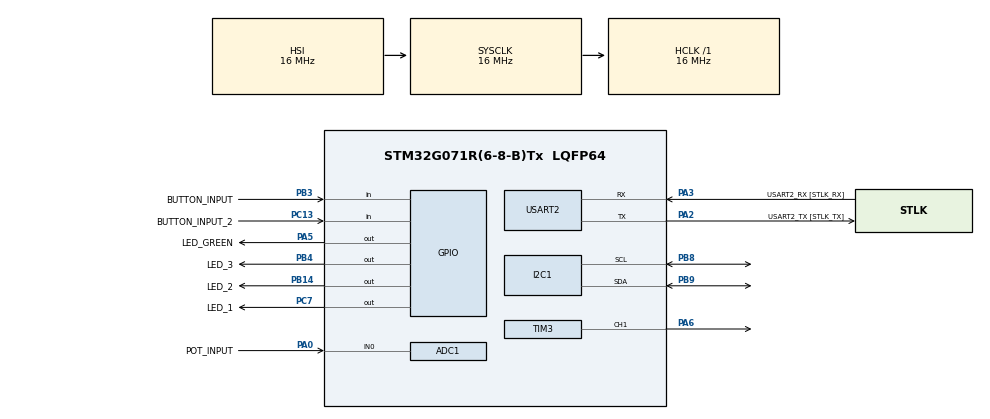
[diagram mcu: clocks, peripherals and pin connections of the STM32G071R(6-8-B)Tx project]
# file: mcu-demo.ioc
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ADC1.Channel-0\#ChannelRegularConversion=ADC_CHANNEL_0
ADC1.ContinuousConvMode=ENABLE
ADC1.NbrOfConversionFlag=1
ADC1.Rank-0\#ChannelRegularConversion=1
ADC1.SamplingTime-0\#ChannelRegularConversion=ADC_SAMPLINGTIME_COMMON_1
ADC1.SelectedChannel=ADC_CHANNEL_0
ADC1.master=1
Mcu.Family=STM32G0
Mcu.Name=STM32G071R(6-8-B)Tx
Mcu.Package=LQFP64
NVIC.TIM14_IRQn=true\:0\:0\:false\:false\:true\:true\:true\:true
NVIC.TIM17_IRQn=true\:0\:0\:false\:false\:true\:true\:true\:true
NVIC.TIM2_IRQn=true\:0\:0\:false\:false\:true\:true\:true\:true
NVIC.TIM6_DAC_LPTIM1_IRQn=true\:0\:0\:false\:false\:true\:true\:true\:true
NVIC.TIM7_LPTIM2_IRQn=true\:0\:0\:false\:false\:true\:true\:true\:true
NVIC.USART2_IRQn=true\:0\:0\:false\:false\:true\:true\:true\:true
PA0.GPIO_Label=POT_INPUT
PA0.Mode=IN0
PA0.Signal=ADC1_IN0
PA13.GPIO_Label=TMS
PA13.Mode=Serial_Wire
PA13.Signal=SYS_SWDIO
PA14-BOOT0.GPIO_Label=TCK
PA14-BOOT0.Mode=Serial_Wire
PA14-BOOT0.Signal=SYS_SWCLK
PA2.GPIO_Label=USART2_TX [STLK_TX]
PA2.GPIO_PuPd=GPIO_PULLUP
PA2.Mode=Asynchronous
PA2.Signal=USART2_TX
PA3.GPIO_Label=USART2_RX [STLK_RX]
PA3.GPIO_PuPd=GPIO_PULLUP
PA3.Mode=Asynchronous
PA3.Signal=USART2_RX
PA5.GPIO_Label=LED_GREEN
PA5.GPIO_Speed=GPIO_SPEED_FREQ_HIGH
PA5.Signal=GPIO_Output
PA6.Signal=S_TIM3_CH1
PB14.GPIO_Label=LED_2
PB14.Signal=GPIO_Output
PB3.GPIO_Label=BUTTON_INPUT
PB3.Signal=GPIO_Input
PB4.GPIO_Label=LED_3
PB4.Signal=GPIO_Output
PB8.Mode=I2C
PB8.Signal=I2C1_SCL
PB9.Mode=I2C
PB9.Signal=I2C1_SDA
PC13.GPIO_Label=BUTTON_INPUT_2
PC13.GPIO_PuPd=GPIO_PULLUP
PC13.Signal=GPIO_Input
PC14-OSC32_IN\ (PC14).Mode=LSE-External-Oscillator
PC14-OSC32_IN\ (PC14).Signal=RCC_OSC32_IN
PC15-OSC32_OUT\ (PC15).Mode=LSE-External-Oscillator
PC15-OSC32_OUT\ (PC15).Signal=RCC_OSC32_OUT
PC7.GPIO_Label=LED_1
PC7.Signal=GPIO_Output
PF0-OSC_IN\ (PF0).GPIO_Label=MCO
PF0-OSC_IN\ (PF0).Mode=HSE-External-Clock-Source
PF0-OSC_IN\ (PF0).Signal=RCC_OSC_IN
ProjectManager.HeapSize=0x200
ProjectManager.StackSize=0x400
ProjectManager.TargetToolchain=STM32CubeIDE
RCC.AHBFreq_Value=16000000
RCC.CortexFreq_Value=16000000
RCC.EXTERNAL_CLOCK_VALUE=12288000
RCC.HCLKFreq_Value=16000000
RCC.HSE_VALUE=8000000
RCC.HSI_VALUE=16000000
RCC.SYSCLKFreq_VALUE=16000000
RCC.VCOOutputFreq_Value=128000000
SH.S_TIM3_CH1.0=TIM3_CH1,PWM Generation1 CH1
TIM14.Period=999
TIM14.Prescaler=7999
TIM17.Period=999
TIM17.Prescaler=0
TIM2.Period=999
TIM2.Prescaler=15999
TIM3.Channel-PWM\ Generation1\ CH1=TIM_CHANNEL_1
TIM3.Period=999
TIM3.Prescaler=319
TIM6.Period=999
TIM6.Prescaler=15999
TIM7.Period=999
TIM7.Prescaler=15999
USART2.VirtualMode-Asynchronous=VM_ASYNC
VP_SYS_VS_DBSignals.Mode=DisableDeadBatterySignals
VP_TIM14_VS_ClockSourceINT.Mode=Enable_Timer
VP_TIM17_VS_ClockSourceINT.Mode=Enable_Timer
VP_TIM2_VS_ClockSourceINT.Mode=Internal
VP_TIM3_VS_ClockSourceINT.Mode=Internal
VP_TIM6_VS_ClockSourceINT.Mode=Enable_Timer
VP_TIM7_VS_ClockSourceINT.Mode=Enable_Timer
board=NUCLEO-G071RB

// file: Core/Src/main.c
/* USER CODE BEGIN Header */
/**
  ******************************************************************************
  * @file           : main.c
  * @brief          : Main program body
  ******************************************************************************
  * @attention
  *
  * Copyright (c) 2024 STMicroelectronics.
  * All rights reserved.
  *
  * This software is licensed under terms that can be found in the LICENSE file
  * in the root directory of this software component.
  * If no LICENSE file comes with this software, it is provided AS-IS.
  *
  ******************************************************************************
  */
/* USER CODE END Header */
#include "main.h"

/* USER CODE BEGIN Includes */
#include <string.h>
#include <stdio.h>
#include "../../ECUAL/I2C_LCD/I2C_LCD.h"
/* USER CODE END Includes */

/* USER CODE BEGIN PD */
#define MyI2C_LCD I2C_LCD_1		// LCD Stuff
/* USER CODE END PD */

ADC_HandleTypeDef hadc1;

I2C_HandleTypeDef hi2c1;

TIM_HandleTypeDef htim2;
TIM_HandleTypeDef htim3;
TIM_HandleTypeDef htim6;
TIM_HandleTypeDef htim7;
TIM_HandleTypeDef htim14;
TIM_HandleTypeDef htim17;

UART_HandleTypeDef huart2;

/* USER CODE BEGIN PV */

// Global Variables
char msg[23];				// UART Message Buffer 1
char msg2[60];				// UART Message Buffer 2
char msgRx[5] = {0};		// UART receive message buffer
uint16_t potValue;
int uartFlag = 1;			// 1 = Input received
int ledOneFlag = 1;			// 1 = On
int ledTwoFlag = 1;			// 1 = On
int ledThreeFlag = 1;		// 1 = On
int buttonTwoFlag = 1;		// 1 = On
int stateTracker;			// 1 = A, 2 = B, 3 = C

uint16_t millisProgStart;	// Stores milliseconds

/* USER CODE END PV */

void SystemClock_Config(void);
static void MX_GPIO_Init(void);
static void MX_USART2_UART_Init(void);
static void MX_ADC1_Init(void);
static void MX_I2C1_Init(void);
static void MX_TIM2_Init(void);
static void MX_TIM3_Init(void);
static void MX_TIM6_Init(void);
static void MX_TIM7_Init(void);
static void MX_TIM14_Init(void);
static void MX_TIM17_Init(void);
/* USER CODE BEGIN PFP */

// My own GPIO config function
void turnUartIntoGPIO(void);

// Test functions
void hardwareTestLED(void);												// Test LEDs wiring
void hardwareTestButton(void);											// Test buttons wiring
void hardwareTestLCD(void);												// Test LCD wiring

// Control functions
void getPotValue(void);													// ADC Reader - Print value
int myMap(int x, int in_min, int in_max, int out_min, int out_max);		// Map ADC to PWM
void motorControl(int adcValue);										// Send PWM to motor
int getAdcFromPot();													// ADC Reader - Return value
void ledFreqControl(int adcValue);

// State Functions
void stateMachineController(int state);									// Executes states
void stateMachineDecider();											 	// Tracks states
void stateHandlerA(void);
void stateHandlerB(void);
void stateHandlerC(void);

/* USER CODE END PFP */

int main(void)
{

  /* MCU Configuration--------------------------------------------------------*/

  /* Reset of all peripherals, Initializes the Flash interface and the Systick. */
  HAL_Init();

  /* Configure the system clock */
  SystemClock_Config();

  /* Initialize all configured peripherals */
  MX_GPIO_Init();
  MX_USART2_UART_Init();
  MX_ADC1_Init();
  MX_I2C1_Init();
  MX_TIM2_Init();
  MX_TIM3_Init();
  MX_TIM6_Init();
  MX_TIM7_Init();
  MX_TIM14_Init();
  MX_TIM17_Init();
  /* USER CODE BEGIN 2 */

  // Enable the TIM2 peripheral
  __HAL_RCC_TIM2_CLK_ENABLE();

  // Enable the TIM6 peripheral
  __HAL_RCC_TIM6_CLK_ENABLE();

  // Enable the TIM7 peripheral
  __HAL_RCC_TIM7_CLK_ENABLE();

  // Enable the TIM14 peripheral
   __HAL_RCC_TIM14_CLK_ENABLE();

  // Enable the TIM17 peripheral
  __HAL_RCC_TIM17_CLK_ENABLE();

  // Enable the peripheral IRQ for TIM2
  HAL_NVIC_SetPriority(TIM2_IRQn, 0, 0);
  HAL_NVIC_EnableIRQ(TIM2_IRQn);

  // Enable the peripheral IRQ for TIM6
  HAL_NVIC_SetPriority(TIM6_DAC_LPTIM1_IRQn, 0, 0);
  HAL_NVIC_EnableIRQ(TIM6_DAC_LPTIM1_IRQn);

  // Enable the peripheral IRQ for TIM7
  HAL_NVIC_SetPriority(TIM7_LPTIM2_IRQn, 0, 0);
  HAL_NVIC_EnableIRQ(TIM7_LPTIM2_IRQn);

  // Enable the peripheral IRQ for TIM14
  HAL_NVIC_SetPriority(TIM14_IRQn, 0, 0);
  HAL_NVIC_EnableIRQ(TIM14_IRQn);

  // Enable the peripheral IRQ for TIM17
  HAL_NVIC_SetPriority(TIM17_IRQn, 0, 0);
  HAL_NVIC_EnableIRQ(TIM17_IRQn);

  // Start the timers
  HAL_TIM_Base_Start_IT(&htim2);
  HAL_TIM_Base_Start_IT(&htim6);
  HAL_TIM_Base_Start_IT(&htim7);
  HAL_TIM_Base_Start_IT(&htim14);

  // Enable PWM on TIM3 (for motor control)
  HAL_TIM_PWM_Start(&htim3, TIM_CHANNEL_1);

  // I2C Display
  hardwareTestLCD();

  // Variables
  int servoAngle;
  int adcValue;
  stateTracker = 1;

  /* USER CODE END 2 */

  /* Infinite loop */
  /* USER CODE BEGIN WHILE */
  while (1)
  {
	  // Check UART Transmissions
	  HAL_UART_Receive_IT(&huart2, msgRx, 1);

	  // Get potentiometer value
	  HAL_ADC_Start_IT(&hadc1);
	  getPotValue();

	  // State Machine
	  stateMachineDecider();
	  stateMachineController(stateTracker);

	  // Monitor LEDs
	  if (ledOneFlag == 0 ){
		  HAL_GPIO_WritePin(LED_1_GPIO_Port,LED_1_Pin,GPIO_PIN_RESET);
	  } else if (ledTwoFlag == 0){
		  HAL_GPIO_WritePin(LED_2_GPIO_Port,LED_2_Pin,GPIO_PIN_RESET);
	  } else if (ledThreeFlag == 0){
		  HAL_GPIO_WritePin(LED_3_GPIO_Port,LED_3_Pin,GPIO_PIN_RESET);
	  }

    /* USER CODE END WHILE */

  }
}

void SystemClock_Config(void)
{
  RCC_OscInitTypeDef RCC_OscInitStruct = {0};
  RCC_ClkInitTypeDef RCC_ClkInitStruct = {0};

  /** Configure the main internal regulator output voltage
  */
  HAL_PWREx_ControlVoltageScaling(PWR_REGULATOR_VOLTAGE_SCALE1);

  /** Initializes the RCC Oscillators according to the specified parameters
  * in the RCC_OscInitTypeDef structure.
  */
  RCC_OscInitStruct.OscillatorType = RCC_OSCILLATORTYPE_HSI;
  RCC_OscInitStruct.HSIState = RCC_HSI_ON;
  RCC_OscInitStruct.HSIDiv = RCC_HSI_DIV1;
  RCC_OscInitStruct.HSICalibrationValue = RCC_HSICALIBRATION_DEFAULT;
  RCC_OscInitStruct.PLL.PLLState = RCC_PLL_NONE;
  if (HAL_RCC_OscConfig(&RCC_OscInitStruct) != HAL_OK)
  {
    Error_Handler();
  }

  /** Initializes the CPU, AHB and APB buses clocks
  */
  RCC_ClkInitStruct.ClockType = RCC_CLOCKTYPE_HCLK|RCC_CLOCKTYPE_SYSCLK
                              |RCC_CLOCKTYPE_PCLK1;
  RCC_ClkInitStruct.SYSCLKSource = RCC_SYSCLKSOURCE_HSI;
  RCC_ClkInitStruct.AHBCLKDivider = RCC_SYSCLK_DIV1;
  RCC_ClkInitStruct.APB1CLKDivider = RCC_HCLK_DIV1;

  if (HAL_RCC_ClockConfig(&RCC_ClkInitStruct, FLASH_LATENCY_0) != HAL_OK)
  {
    Error_Handler();
  }
}

static void MX_ADC1_Init(void)
{

  ADC_ChannelConfTypeDef sConfig = {0};

  /** Configure the global features of the ADC (Clock, Resolution, Data Alignment and number of conversion)
  */
  hadc1.Instance = ADC1;
  hadc1.Init.ClockPrescaler = ADC_CLOCK_SYNC_PCLK_DIV2;
  hadc1.Init.Resolution = ADC_RESOLUTION_12B;
  hadc1.Init.DataAlign = ADC_DATAALIGN_RIGHT;
  hadc1.Init.ScanConvMode = ADC_SCAN_DISABLE;
  hadc1.Init.EOCSelection = ADC_EOC_SINGLE_CONV;
  hadc1.Init.LowPowerAutoWait = DISABLE;
  hadc1.Init.LowPowerAutoPowerOff = DISABLE;
  hadc1.Init.ContinuousConvMode = ENABLE;
  hadc1.Init.NbrOfConversion = 1;
  hadc1.Init.ExternalTrigConv = ADC_SOFTWARE_START;
  hadc1.Init.ExternalTrigConvEdge = ADC_EXTERNALTRIGCONVEDGE_NONE;
  hadc1.Init.DMAContinuousRequests = DISABLE;
  hadc1.Init.Overrun = ADC_OVR_DATA_PRESERVED;
  hadc1.Init.SamplingTimeCommon1 = ADC_SAMPLETIME_1CYCLE_5;
  hadc1.Init.SamplingTimeCommon2 = ADC_SAMPLETIME_1CYCLE_5;
  hadc1.Init.OversamplingMode = DISABLE;
  hadc1.Init.TriggerFrequencyMode = ADC_TRIGGER_FREQ_HIGH;
  if (HAL_ADC_Init(&hadc1) != HAL_OK)
  {
    Error_Handler();
  }

  /** Configure Regular Channel
  */
  sConfig.Channel = ADC_CHANNEL_0;
  sConfig.Rank = ADC_REGULAR_RANK_1;
  sConfig.SamplingTime = ADC_SAMPLINGTIME_COMMON_1;
  if (HAL_ADC_ConfigChannel(&hadc1, &sConfig) != HAL_OK)
  {
    Error_Handler();
  }

}

static void MX_I2C1_Init(void)
{

  hi2c1.Instance = I2C1;
  hi2c1.Init.Timing = 0x00303D5B;
  hi2c1.Init.OwnAddress1 = 0;
  hi2c1.Init.AddressingMode = I2C_ADDRESSINGMODE_7BIT;
  hi2c1.Init.DualAddressMode = I2C_DUALADDRESS_DISABLE;
  hi2c1.Init.OwnAddress2 = 0;
  hi2c1.Init.OwnAddress2Masks = I2C_OA2_NOMASK;
  hi2c1.Init.GeneralCallMode = I2C_GENERALCALL_DISABLE;
  hi2c1.Init.NoStretchMode = I2C_NOSTRETCH_DISABLE;
  if (HAL_I2C_Init(&hi2c1) != HAL_OK)
  {
    Error_Handler();
  }

  /** Configure Analogue filter
  */
  if (HAL_I2CEx_ConfigAnalogFilter(&hi2c1, I2C_ANALOGFILTER_ENABLE) != HAL_OK)
  {
    Error_Handler();
  }

  /** Configure Digital filter
  */
  if (HAL_I2CEx_ConfigDigitalFilter(&hi2c1, 0) != HAL_OK)
  {
    Error_Handler();
  }

}

static void MX_TIM2_Init(void)
{

  TIM_ClockConfigTypeDef sClockSourceConfig = {0};
  TIM_MasterConfigTypeDef sMasterConfig = {0};

  htim2.Instance = TIM2;
  htim2.Init.Prescaler = 15999;
  htim2.Init.CounterMode = TIM_COUNTERMODE_UP;
  htim2.Init.Period = 999;
  htim2.Init.ClockDivision = TIM_CLOCKDIVISION_DIV1;
  htim2.Init.AutoReloadPreload = TIM_AUTORELOAD_PRELOAD_DISABLE;
  if (HAL_TIM_Base_Init(&htim2) != HAL_OK)
  {
    Error_Handler();
  }
  sClockSourceConfig.ClockSource = TIM_CLOCKSOURCE_INTERNAL;
  if (HAL_TIM_ConfigClockSource(&htim2, &sClockSourceConfig) != HAL_OK)
  {
    Error_Handler();
  }
  sMasterConfig.MasterOutputTrigger = TIM_TRGO_RESET;
  sMasterConfig.MasterSlaveMode = TIM_MASTERSLAVEMODE_DISABLE;
  if (HAL_TIMEx_MasterConfigSynchronization(&htim2, &sMasterConfig) != HAL_OK)
  {
    Error_Handler();
  }

}

static void MX_TIM3_Init(void)
{

  TIM_ClockConfigTypeDef sClockSourceConfig = {0};
  TIM_MasterConfigTypeDef sMasterConfig = {0};
  TIM_OC_InitTypeDef sConfigOC = {0};

  htim3.Instance = TIM3;
  htim3.Init.Prescaler = 319;
  htim3.Init.CounterMode = TIM_COUNTERMODE_UP;
  htim3.Init.Period = 999;
  htim3.Init.ClockDivision = TIM_CLOCKDIVISION_DIV1;
  htim3.Init.AutoReloadPreload = TIM_AUTORELOAD_PRELOAD_DISABLE;
  if (HAL_TIM_Base_Init(&htim3) != HAL_OK)
  {
    Error_Handler();
  }
  sClockSourceConfig.ClockSource = TIM_CLOCKSOURCE_INTERNAL;
  if (HAL_TIM_ConfigClockSource(&htim3, &sClockSourceConfig) != HAL_OK)
  {
    Error_Handler();
  }
  if (HAL_TIM_PWM_Init(&htim3) != HAL_OK)
  {
    Error_Handler();
  }
  sMasterConfig.MasterOutputTrigger = TIM_TRGO_RESET;
  sMasterConfig.MasterSlaveMode = TIM_MASTERSLAVEMODE_DISABLE;
  if (HAL_TIMEx_MasterConfigSynchronization(&htim3, &sMasterConfig) != HAL_OK)
  {
    Error_Handler();
  }
  sConfigOC.OCMode = TIM_OCMODE_PWM1;
  sConfigOC.Pulse = 0;
  sConfigOC.OCPolarity = TIM_OCPOLARITY_HIGH;
  sConfigOC.OCFastMode = TIM_OCFAST_DISABLE;
  if (HAL_TIM_PWM_ConfigChannel(&htim3, &sConfigOC, TIM_CHANNEL_1) != HAL_OK)
  {
    Error_Handler();
  }
  HAL_TIM_MspPostInit(&htim3);

}

static void MX_TIM6_Init(void)
{

  TIM_MasterConfigTypeDef sMasterConfig = {0};

  htim6.Instance = TIM6;
  htim6.Init.Prescaler = 15999;
  htim6.Init.CounterMode = TIM_COUNTERMODE_UP;
  htim6.Init.Period = 999;
  htim6.Init.AutoReloadPreload = TIM_AUTORELOAD_PRELOAD_DISABLE;
  if (HAL_TIM_Base_Init(&htim6) != HAL_OK)
  {
    Error_Handler();
  }
  sMasterConfig.MasterOutputTrigger = TIM_TRGO_RESET;
  sMasterConfig.MasterSlaveMode = TIM_MASTERSLAVEMODE_DISABLE;
  if (HAL_TIMEx_MasterConfigSynchronization(&htim6, &sMasterConfig) != HAL_OK)
  {
    Error_Handler();
  }

}

static void MX_TIM7_Init(void)
{

  TIM_MasterConfigTypeDef sMasterConfig = {0};

  htim7.Instance = TIM7;
  htim7.Init.Prescaler = 15999;
  htim7.Init.CounterMode = TIM_COUNTERMODE_UP;
  htim7.Init.Period = 999;
  htim7.Init.AutoReloadPreload = TIM_AUTORELOAD_PRELOAD_DISABLE;
  if (HAL_TIM_Base_Init(&htim7) != HAL_OK)
  {
    Error_Handler();
  }
  sMasterConfig.MasterOutputTrigger = TIM_TRGO_RESET;
  sMasterConfig.MasterSlaveMode = TIM_MASTERSLAVEMODE_DISABLE;
  if (HAL_TIMEx_MasterConfigSynchronization(&htim7, &sMasterConfig) != HAL_OK)
  {
    Error_Handler();
  }

}

static void MX_TIM14_Init(void)
{

  htim14.Instance = TIM14;
  htim14.Init.Prescaler = 7999;
  htim14.Init.CounterMode = TIM_COUNTERMODE_UP;
  htim14.Init.Period = 999;
  htim14.Init.ClockDivision = TIM_CLOCKDIVISION_DIV1;
  htim14.Init.AutoReloadPreload = TIM_AUTORELOAD_PRELOAD_DISABLE;
  if (HAL_TIM_Base_Init(&htim14) != HAL_OK)
  {
    Error_Handler();
  }

}

static void MX_TIM17_Init(void)
{

  htim17.Instance = TIM17;
  htim17.Init.Prescaler = 0;
  htim17.Init.CounterMode = TIM_COUNTERMODE_UP;
  htim17.Init.Period = 999;
  htim17.Init.ClockDivision = TIM_CLOCKDIVISION_DIV1;
  htim17.Init.RepetitionCounter = 0;
  htim17.Init.AutoReloadPreload = TIM_AUTORELOAD_PRELOAD_DISABLE;
  if (HAL_TIM_Base_Init(&htim17) != HAL_OK)
  {
    Error_Handler();
  }

}

static void MX_USART2_UART_Init(void)
{

  huart2.Instance = USART2;
  huart2.Init.BaudRate = 115200;
  huart2.Init.WordLength = UART_WORDLENGTH_8B;
  huart2.Init.StopBits = UART_STOPBITS_1;
  huart2.Init.Parity = UART_PARITY_NONE;
  huart2.Init.Mode = UART_MODE_TX_RX;
  huart2.Init.HwFlowCtl = UART_HWCONTROL_NONE;
  huart2.Init.OverSampling = UART_OVERSAMPLING_16;
  huart2.Init.OneBitSampling = UART_ONE_BIT_SAMPLE_DISABLE;
  huart2.Init.ClockPrescaler = UART_PRESCALER_DIV1;
  huart2.AdvancedInit.AdvFeatureInit = UART_ADVFEATURE_NO_INIT;
  if (HAL_UART_Init(&huart2) != HAL_OK)
  {
    Error_Handler();
  }
  if (HAL_UARTEx_SetTxFifoThreshold(&huart2, UART_TXFIFO_THRESHOLD_1_8) != HAL_OK)
  {
    Error_Handler();
  }
  if (HAL_UARTEx_SetRxFifoThreshold(&huart2, UART_RXFIFO_THRESHOLD_1_8) != HAL_OK)
  {
    Error_Handler();
  }
  if (HAL_UARTEx_DisableFifoMode(&huart2) != HAL_OK)
  {
    Error_Handler();
  }

}

static void MX_GPIO_Init(void)
{
  GPIO_InitTypeDef GPIO_InitStruct = {0};

  /* GPIO Ports Clock Enable */
  __HAL_RCC_GPIOC_CLK_ENABLE();
  __HAL_RCC_GPIOF_CLK_ENABLE();
  __HAL_RCC_GPIOA_CLK_ENABLE();
  __HAL_RCC_GPIOB_CLK_ENABLE();

  /*Configure GPIO pin Output Level */
  HAL_GPIO_WritePin(LED_GREEN_GPIO_Port, LED_GREEN_Pin, GPIO_PIN_RESET);

  /*Configure GPIO pin Output Level */
  HAL_GPIO_WritePin(GPIOB, LED_2_Pin|LED_3_Pin, GPIO_PIN_RESET);

  /*Configure GPIO pin Output Level */
  HAL_GPIO_WritePin(LED_1_GPIO_Port, LED_1_Pin, GPIO_PIN_RESET);

  /*Configure GPIO pin : BUTTON_INPUT_2_Pin */
  GPIO_InitStruct.Pin = BUTTON_INPUT_2_Pin;
  GPIO_InitStruct.Mode = GPIO_MODE_INPUT;
  GPIO_InitStruct.Pull = GPIO_PULLUP;
  HAL_GPIO_Init(BUTTON_INPUT_2_GPIO_Port, &GPIO_InitStruct);

  /*Configure GPIO pin : LED_GREEN_Pin */
  GPIO_InitStruct.Pin = LED_GREEN_Pin;
  GPIO_InitStruct.Mode = GPIO_MODE_OUTPUT_PP;
  GPIO_InitStruct.Pull = GPIO_NOPULL;
  GPIO_InitStruct.Speed = GPIO_SPEED_FREQ_HIGH;
  HAL_GPIO_Init(LED_GREEN_GPIO_Port, &GPIO_InitStruct);

  /*Configure GPIO pins : LED_2_Pin LED_3_Pin */
  GPIO_InitStruct.Pin = LED_2_Pin|LED_3_Pin;
  GPIO_InitStruct.Mode = GPIO_MODE_OUTPUT_PP;
  GPIO_InitStruct.Pull = GPIO_NOPULL;
  GPIO_InitStruct.Speed = GPIO_SPEED_FREQ_LOW;
  HAL_GPIO_Init(GPIOB, &GPIO_InitStruct);

  /*Configure GPIO pin : LED_1_Pin */
  GPIO_InitStruct.Pin = LED_1_Pin;
  GPIO_InitStruct.Mode = GPIO_MODE_OUTPUT_PP;
  GPIO_InitStruct.Pull = GPIO_NOPULL;
  GPIO_InitStruct.Speed = GPIO_SPEED_FREQ_LOW;
  HAL_GPIO_Init(LED_1_GPIO_Port, &GPIO_InitStruct);

  /*Configure GPIO pin : BUTTON_INPUT_Pin */
  GPIO_InitStruct.Pin = BUTTON_INPUT_Pin;
  GPIO_InitStruct.Mode = GPIO_MODE_INPUT;
  GPIO_InitStruct.Pull = GPIO_NOPULL;
  HAL_GPIO_Init(BUTTON_INPUT_GPIO_Port, &GPIO_InitStruct);

}

/* USER CODE BEGIN 4 */

	/* Test LEDs are working  */
	void hardwareTestLED(){

		/* Lights ON */
		HAL_GPIO_WritePin(LED_1_GPIO_Port, LED_1_Pin, GPIO_PIN_SET);
		HAL_Delay(100);
		HAL_GPIO_WritePin(LED_2_GPIO_Port, LED_2_Pin, GPIO_PIN_SET);
		HAL_Delay(100);
		HAL_GPIO_WritePin(LED_3_GPIO_Port, LED_3_Pin, GPIO_PIN_SET);
		HAL_Delay(100);

		/* Lights OFF */
		HAL_GPIO_WritePin(LED_1_GPIO_Port, LED_1_Pin, GPIO_PIN_RESET);
		HAL_Delay(100);
		HAL_GPIO_WritePin(LED_2_GPIO_Port, LED_2_Pin, GPIO_PIN_RESET);
		HAL_Delay(100);
		HAL_GPIO_WritePin(LED_3_GPIO_Port, LED_3_Pin, GPIO_PIN_RESET);
		HAL_Delay(100);
	}

	/* Get ADC value from potentiometer */
	void getPotValue(void){

		/* Get pot value */
		HAL_ADC_PollForConversion(&hadc1, 5);
		potValue = HAL_ADC_GetValue(&hadc1);

		/* Debug */
		//sprintf(msg, "potValue: %hu\r\n", potValue);
		//HAL_UART_Transmit(&huart2, (uint8_t*) msg, strlen(msg), HAL_MAX_DELAY);
	}

	/* getADC from Pot */
	int getAdcFromPot(){
		/* Get pot value */
		uint16_t potValue;
		HAL_ADC_PollForConversion(&hadc1, 5);
		potValue = HAL_ADC_GetValue(&hadc1);
		return potValue;
	}

	/* Test pushbutton is working */
	void hardwareTestButton(void){
		char msg[23];
		if (HAL_GPIO_ReadPin(BUTTON_INPUT_GPIO_Port, BUTTON_INPUT_Pin) == 0){
			printf(msg, "BUTTON IS BEING PUSHED");
			HAL_UART_Transmit(&huart2, (uint8_t*) msg, strlen(msg), HAL_MAX_DELAY);
		} else {
			printf(msg, "NO BUTTON :(");
			HAL_UART_Transmit(&huart2, (uint8_t*) msg, strlen(msg), HAL_MAX_DELAY);
	 	}
	}

	/* Test LCD is working */
	void hardwareTestLCD(void){
		I2C_LCD_Init(MyI2C_LCD);
		I2C_LCD_SetCursor(MyI2C_LCD, 0, 0);
		I2C_LCD_WriteString(MyI2C_LCD, "Hardware Test");
		I2C_LCD_SetCursor(MyI2C_LCD, 0, 1);
		I2C_LCD_WriteString(MyI2C_LCD, "Meow");
	}

	/* Motor control */
	void motorControl(int adcValue){
		__HAL_TIM_SET_COMPARE (&htim3, TIM_CHANNEL_1, adcValue); // Interpolate pot values to PWM range
	}

	/* LED Frequency control */
	void ledFreqControl(int adcValue){

		// Calculate timer parameters
		uint16_t prescaler = adcValue;

		// Stop the Timer

		HAL_TIM_Base_Stop(&htim7);

		// Update Prescaler

		htim7.Instance->PSC = prescaler;

		// Restart Timer

		HAL_TIM_Base_Start(&htim7);
	}

	/* Mapping function */
	 int myMap(int x, int in_min, int in_max, int out_min, int out_max){
		 return (x - in_min) * (out_max - out_min) / (in_max - in_min) + out_min;
	 }

	 /* State Machine Controller */
	 // Description: Determines which state the program will execute.
	 //  Input:		 Integer corresponding to state (1 = A, 2 = B, 3 = C)
	 void stateMachineController(int state){

		 switch(state){

		 	 // State A
			 case 1:

				 // LEDs go back to normal when not in State B
				 ledOneFlag = 1;
				 ledTwoFlag = 1;
				 ledThreeFlag = 1;

				 stateHandlerA();
				 break;

			 // State B
			 case 2:

				 // LED3 always on
				 ledThreeFlag = 1;

				 stateHandlerB();
				 break;

			// State C
			 case 3:

				 // Debug message
				 sprintf(msg, "Executing C.\n\r");
				 HAL_UART_Transmit(&huart2, (uint8_t*) msg, strlen(msg), HAL_MAX_DELAY);

				 // LEDs go back to normal when not in State B
				 ledOneFlag = 1;
				 ledTwoFlag = 1;
				 ledThreeFlag = 1;

				 stateHandlerC();
				 break;
		 }
	 }

	 /* State Machine Decider */
	 // Description: Monitors button pushes to update current state value.
	 void stateMachineDecider(){
		 // Go to State B if it is State A
		 if (HAL_GPIO_ReadPin(BUTTON_INPUT_GPIO_Port, BUTTON_INPUT_Pin) && stateTracker == 1){

			 // Debug message
			 sprintf(msg, "Going to State B.\n\r");
			 HAL_UART_Transmit(&huart2, (uint8_t*) msg, strlen(msg), HAL_MAX_DELAY);

			 // Clear LCD
			 I2C_LCD_Clear(MyI2C_LCD);

			 // Timers go back to normal
			 HAL_TIM_Base_Stop(&htim7);
			 MX_TIM7_Init();

			 // Go to State B
			 stateTracker = 2;

		 // Go to State A if it is State B
		 } else if (HAL_GPIO_ReadPin(BUTTON_INPUT_GPIO_Port, BUTTON_INPUT_Pin) && stateTracker == 2){

			 // Debug message
			 sprintf(msg, "Going to State A.\n\r");
			 HAL_UART_Transmit(&huart2, (uint8_t*) msg, strlen(msg), HAL_MAX_DELAY);

			 // Clear LCD
			 I2C_LCD_Clear(MyI2C_LCD);

			 // Stay in State A
			 stateTracker = 1;

		// Button 2 pressed (State C)
		 } else if (!HAL_GPIO_ReadPin(BUTTON_INPUT_2_GPIO_Port, BUTTON_INPUT_2_Pin) && stateTracker == 1){

			 // Debug message
			 sprintf(msg, "Going to State C.\n\r");
			 HAL_UART_Transmit(&huart2, (uint8_t*) msg, strlen(msg), HAL_MAX_DELAY);

			 // Go to State C
			 stateTracker = 3;
		 }
	 }

	 /* State Handler A */
	 void stateHandlerA(void){
		 // LCD Control
		 I2C_LCD_Display(MyI2C_LCD);
		 I2C_LCD_SetCursor(MyI2C_LCD, 0, 0);
		 I2C_LCD_WriteString(MyI2C_LCD, "SID: 24429298");
		 I2C_LCD_SetCursor(MyI2C_LCD, 0, 1);
		 I2C_LCD_WriteString(MyI2C_LCD, "Mechatronics 1");

		 // Get potentiometer value
		 HAL_ADC_Start_IT(&hadc1);	// Start conversion after each ADC cycle
		 getPotValue();

		 // Motor control
		 int servoAngle = myMap(getAdcFromPot(), 60, 4095, 0, 180);
		 motorControl(servoAngle);

		 // No button pushes - Stay in State A
		 stateTracker = 1;
	 }

	 /* State Handler B */
	 void stateHandlerB(void){

		 // When State B is initially called, let alone one of the LEDs (in question) on
		 if (ledOneFlag == 1 && ledTwoFlag == 1){
			 ledOneFlag = 1;
			 ledTwoFlag = 0;
		 }

		 // LCD Control
		 I2C_LCD_Display(MyI2C_LCD);
		 I2C_LCD_SetCursor(MyI2C_LCD, 0, 0);
		 I2C_LCD_WriteString(MyI2C_LCD, "ADC: ");
		 sprintf(msg2, "%hu", potValue);
		 I2C_LCD_WriteString(MyI2C_LCD, msg2);
		 I2C_LCD_WriteString(MyI2C_LCD, " State B");
		 I2C_LCD_SetCursor(MyI2C_LCD, 0, 1);
		 I2C_LCD_WriteString(MyI2C_LCD, "Mechatronics 1");

		 // Get potentiometer value
		 HAL_ADC_Start_IT(&hadc1);	// Start conversion after each ADC cycle
		 getPotValue();

		 // Motor control
		 int servoAngle = myMap(getAdcFromPot(), 60, 4095, 0, 180);
		 motorControl(servoAngle);

		 // LED frequency control
		 int blinkSpeed = myMap(getAdcFromPot(), 60, 4095, 16000, 3200);
		 ledFreqControl(blinkSpeed);

		 // LED1 and LED2 toggle
		 // B1 pressed = Turn off
		 // B1 not pressed = Turn on, blink at 1 Hz (Modify PSC)
		 if (!HAL_GPIO_ReadPin(BUTTON_INPUT_2_GPIO_Port, BUTTON_INPUT_2_Pin)){

			 // Testing millis - time since program start
			 sprintf(msg2, "Time since program start (ms): %u\r\n", millisProgStart);
			 HAL_UART_Transmit(&huart2, (uint8_t*) msg2, strlen(msg2), HAL_MAX_DELAY);

			 // If LED1 is on, swap with LED2
			 if (ledOneFlag == 1){
				 ledOneFlag = 0;
				 ledTwoFlag = 1;

			// If LED2 is on, swap with LED1
			 } else if (ledTwoFlag == 1){
				 ledTwoFlag = 0;
				 ledOneFlag = 1;
			 }
		 }

		 // No button pushes - Stay in State B
		 stateTracker = 2;
	 }

	 /* State Handler C */
	 void stateHandlerC(void){

		 // Turn off LCD
		 I2C_LCD_NoDisplay(MyI2C_LCD);

		 // Turn off LED1, LED2, LED3
		 ledOneFlag = 0;
		 ledTwoFlag = 0;
		 ledThreeFlag = 0;
		 HAL_GPIO_WritePin(LED_1_GPIO_Port, LED_1_Pin, GPIO_PIN_RESET);
		 HAL_GPIO_WritePin(LED_2_GPIO_Port, LED_2_Pin, GPIO_PIN_RESET);
		 HAL_GPIO_WritePin(LED_3_GPIO_Port, LED_3_Pin, GPIO_PIN_RESET);

		 // Debug Message
		 sprintf(msg, "State C.\n\r");
		 HAL_UART_Transmit(&huart2, (uint8_t*) msg, strlen(msg), HAL_MAX_DELAY);

		 // Turn off UART transmissions
		 HAL_UART_DeInit(&huart2);

		 // Configure GPIO pin : PA2 (UART TX) to GPIO
		 turnUartIntoGPIO();

		 // Set pin to toggle output based on TIM with frequency 1 Hz for 3 seconds
		 for (int i = 0; i < 6; i++){
			 HAL_GPIO_TogglePin(GPIOA, GPIO_PIN_2);
			 HAL_Delay(500);	// 500 ms = 1 Hz
		 }

		 // De-init GPIO PA2
		 HAL_GPIO_DeInit(GPIOA, GPIO_PIN_2);

		 // Turn back into UART (Tx)
		 MX_USART2_UART_Init();

		 // Return to State A
		 stateTracker = 1;
	 }

	 /* turn UART into GPIO */
	 void turnUartIntoGPIO(void){
		 GPIO_InitTypeDef GPIO_InitStruct = {0};

		 __HAL_RCC_GPIOA_CLK_ENABLE();

		 HAL_GPIO_WritePin(GPIOA, GPIO_PIN_2, GPIO_PIN_RESET); // Configure GPIO pin Output Level

		 GPIO_InitStruct.Pin = GPIO_PIN_2;
		 GPIO_InitStruct.Mode = GPIO_MODE_OUTPUT_PP;
		 GPIO_InitStruct.Pull = GPIO_NOPULL;
		 GPIO_InitStruct.Speed = GPIO_SPEED_FREQ_HIGH;
		 HAL_GPIO_Init(GPIOA, &GPIO_InitStruct);
	 }

	 /* Controller Function for LED1, LED2 and LED3*/
	 // Description: Frequency currently determined by each timer's PSC value.
	 void HAL_TIM_PeriodElapsedCallback(TIM_HandleTypeDef *htim){

		 // TIM2 controls LED1
		 if(htim->Instance == TIM2){
			 if (ledOneFlag == 1){
				 HAL_GPIO_TogglePin(LED_1_GPIO_Port, LED_1_Pin);
			 }

		 // TIM6 controls LED2
		 } else if(htim->Instance == TIM6){
			 if (ledTwoFlag == 1) {
				 HAL_GPIO_TogglePin(LED_2_GPIO_Port, LED_2_Pin);
			 }

		 // TIM7 controls LED3
		 } else if(htim->Instance == TIM7){
			 if (ledThreeFlag == 1){
				 HAL_GPIO_TogglePin(LED_3_GPIO_Port, LED_3_Pin);
			 }

	     // TIM14 controls UART
		 } else if(htim->Instance == TIM14){
			 if (stateTracker == 1){
				 if (uartFlag == 1){
					 sprintf(msg2, "Autumn2024 MX1 SID: 24429298, ADC Reading: %hu\r\n", potValue);
					 HAL_UART_Transmit(&huart2, (uint8_t*) msg2, strlen(msg2), HAL_MAX_DELAY);
				 }
			 } else if (stateTracker == 2){
				 ; // UART do nothing
			 }
		 }
		 // TIM17 counts up to 1 ms
		 else if(htim->Instance == TIM17){
			 millisProgStart+=1;
		 }
	 }

	 /* UART Receive Interrupt Handler */
	 // Handles receiving of bytes
	 void HAL_UART_RxCpltCallback(UART_HandleTypeDef *huart){

		 sprintf(msg, "Value Received: %s\r\n", msgRx);
		 HAL_UART_Transmit(&huart2, (uint8_t*) msg, strlen(msg), HAL_MAX_DELAY);

		 if (strcmp(msgRx,"j") == 0) {
			 if (stateTracker == 1){

				if (uartFlag == 0){
					sprintf(msg, "Turning ON UART.\r\n");
					HAL_UART_Transmit(&huart2, (uint8_t*) msg, strlen(msg), HAL_MAX_DELAY);
					uartFlag = 1;

				} else if (uartFlag == 1) {
					sprintf(msg, "Turning OFF UART.\r\n");
					HAL_UART_Transmit(&huart2, (uint8_t*) msg, strlen(msg), HAL_MAX_DELAY);
					uartFlag = 0;
				}

			 } else {
				 sprintf(msg, "Cannot disable, not in State A.\r\n");
				 HAL_UART_Transmit(&huart2, (uint8_t*) msg, strlen(msg), HAL_MAX_DELAY);
			 }
		 } else {
			 sprintf(msg, "Incorrect key.\r\n");
			 HAL_UART_Transmit(&huart2, (uint8_t*) msg, strlen(msg), HAL_MAX_DELAY);
		 }
	 }

/* USER CODE END 4 */

void Error_Handler(void)
{
  __disable_irq();
  while (1)
  {
  }
}
